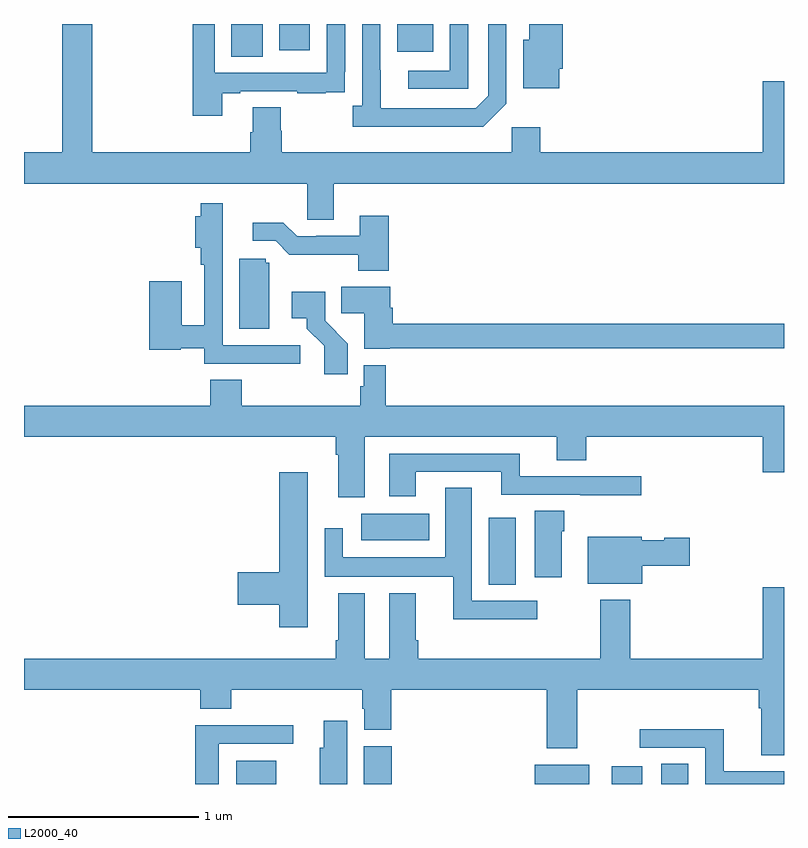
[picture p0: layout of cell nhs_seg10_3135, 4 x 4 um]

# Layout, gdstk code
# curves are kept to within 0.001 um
import gdstk
lib = gdstk.Library(unit=1e-6, precision=1e-09)
def R(c, l, rs):  # rectangles x0, y0, x1, y1
    for r in rs: c.add(gdstk.rectangle(r[:2], r[2:], *l))
def P(c, l, *ps):  # polygons
    for p in ps: c.add(gdstk.Polygon(p, *l))
L2000_40 = (2000, 40)

nhs_seg10_3135 = lib.new_cell('nhs_seg10_3135')
R(nhs_seg10_3135, L2000_40, [(282.116,1286.5,282.328,1286.623), (282.788,1286.5,282.935,1286.7), (283.688,1286.5,283.975,1286.602), (284.093,1286.5,284.254,1286.593), (284.354,1286.5,284.497,1286.606), (283.445,1287.55,283.588,1287.901), (282.774,1287.782,283.132,1287.922), (282.092,1290.328,282.256,1290.5), (282.965,1290.353,283.153,1290.5), (282.344,1290.363,282.505,1290.5)])
P(nhs_seg10_3135, L2000_40, [(283.816,1290.265),(283.835,1290.265),(283.835,1290.5),(283.658,1290.5),(283.658,1290.418),(283.628,1290.418),(283.628,1290.161),(283.816,1290.161)],
  [(282.043,1290.135),(282.139,1290.135),(282.139,1290.147),(282.439,1290.147),(282.439,1290.135),(282.587,1290.135),(282.587,1290.141),(282.689,1290.141),(282.689,1290.25),(282.69,1290.25),(282.69,1290.5),(282.594,1290.5),(282.594,1290.243),(282.003,1290.243),(282.003,1290.5),(281.887,1290.5),(281.887,1290.018),(282.043,1290.018)],
  [(282.631,1289.66),(285,1289.66),(285,1290.199),(284.888,1290.199),(284.888,1289.824),(283.718,1289.824),(283.718,1289.956),(283.566,1289.956),(283.566,1289.824),(282.356,1289.824),(282.356,1289.937),(282.351,1289.937),(282.351,1290.062),(282.203,1290.062),(282.203,1289.93),(282.191,1289.93),(282.191,1289.824),(281.36,1289.824),(281.36,1290.5),(281.2,1290.5),(281.2,1289.824),(281,1289.824),(281,1289.66),(282.492,1289.66),(282.492,1289.47),(282.631,1289.47)],
  [(283.539,1290.081),(283.539,1290.5),(283.443,1290.5),(283.443,1290.123),(283.377,1290.057),(282.877,1290.057),(282.876,1290.5),(282.78,1290.5),(282.78,1290.07),(282.729,1290.07),(282.729,1289.96),(283.418,1289.96)],
  [(283.338,1290.5),(283.242,1290.5),(283.242,1290.255),(283.023,1290.255),(283.023,1290.159),(283.338,1290.159)],
  [(282.454,1288.809),(282.045,1288.809),(282.045,1289.334),(282.046,1289.334),(282.046,1289.557),(281.929,1289.557),(281.929,1289.488),(281.9,1289.488),(281.9,1289.323),(281.929,1289.323),(281.929,1289.234),(281.949,1289.234),(281.949,1288.915),(281.83,1288.915),(281.83,1289.146),(281.66,1289.146),(281.66,1288.786),(281.826,1288.786),(281.826,1288.794),(281.949,1288.794),(281.949,1288.713),(282.229,1288.713),(282.229,1288.711),(282.454,1288.711)],
  [(282.92,1289.491),(282.767,1289.491),(282.767,1289.385),(282.538,1289.385),(282.538,1289.382),(282.438,1289.382),(282.365,1289.455),(282.204,1289.455),(282.204,1289.358),(282.324,1289.358),(282.397,1289.285),(282.76,1289.286),(282.76,1289.201),(282.92,1289.201)],
  [(282.292,1289.244),(282.273,1289.244),(282.273,1289.265),(282.134,1289.265),(282.134,1288.896),(282.292,1288.896)],
  [(282.924,1288.794),(285,1288.794),(285,1288.922),(282.941,1288.922),(282.941,1289.006),(282.928,1289.006),(282.928,1289.116),(282.67,1289.116),(282.67,1288.978),(282.791,1288.978),(282.791,1288.79),(282.924,1288.79)],
  [(282.704,1288.818),(282.585,1288.937),(282.585,1289.092),(282.408,1289.092),(282.408,1288.952),(282.488,1288.952),(282.488,1288.897),(282.579,1288.807),(282.579,1288.656),(282.704,1288.656)],
  [(282.793,1288.328),(283.805,1288.328),(283.805,1288.204),(283.958,1288.204),(283.958,1288.328),(284.888,1288.328),(284.888,1288.14),(285,1288.14),(285,1288.492),(282.905,1288.492),(282.905,1288.705),(282.789,1288.705),(282.789,1288.593),(282.769,1288.593),(282.769,1288.492),(282.146,1288.492),(282.146,1288.628),(281.981,1288.628),(281.981,1288.492),(281,1288.492),(281,1288.328),(282.641,1288.328),(282.641,1288.232),(282.653,1288.232),(282.653,1288.008),(282.793,1288.008)],
  [(283.063,1288.143),(283.511,1288.143),(283.511,1288.023),(283.927,1288.023),(283.927,1288.021),(284.248,1288.021),(284.248,1288.119),(283.61,1288.119),(283.61,1288.239),(282.923,1288.239),(282.923,1288.014),(283.063,1288.014)],
  [(282.493,1288.141),(282.344,1288.141),(282.344,1287.614),(282.126,1287.614),(282.126,1287.443),(282.344,1287.443),(282.344,1287.324),(282.493,1287.324)],
  [(283.702,1287.465),(283.357,1287.465),(283.357,1288.058),(283.217,1288.058),(283.217,1287.694),(282.678,1287.694),(282.678,1287.847),(282.582,1287.847),(282.582,1287.59),(283.259,1287.59),(283.259,1287.368),(283.702,1287.368)],
  [(283.831,1287.83),(283.844,1287.83),(283.844,1287.938),(283.688,1287.938),(283.688,1287.588),(283.831,1287.588)],
  [(284.254,1287.65),(284.503,1287.65),(284.503,1287.797),(284.37,1287.797),(284.37,1287.784),(284.25,1287.784),(284.25,1287.802),(283.967,1287.802),(283.967,1287.554),(284.254,1287.554)],
  [(285,1287.535),(284.888,1287.535),(284.888,1287.16),(284.192,1287.16),(284.192,1287.469),(284.032,1287.469),(284.032,1287.16),(283.076,1287.16),(283.076,1287.256),(283.063,1287.256),(283.063,1287.505),(282.923,1287.505),(282.923,1287.16),(282.793,1287.16),(282.793,1287.505),(282.653,1287.505),(282.653,1287.256),(282.641,1287.256),(282.641,1287.16),(281,1287.16),(281,1286.996),(281.927,1286.996),(281.927,1286.897),(282.092,1286.897),(282.092,1286.996),(282.779,1286.996),(282.779,1286.895),(282.791,1286.895),(282.791,1286.785),(282.932,1286.785),(282.932,1286.996),(283.751,1286.996),(283.751,1286.687),(283.911,1286.687),(283.911,1286.996),(284.867,1286.996),(284.867,1286.9),(284.879,1286.9),(284.879,1286.651),(285,1286.651)],
  [(282.7,1286.833),(282.578,1286.833),(282.578,1286.691),(282.557,1286.691),(282.557,1286.5),(282.7,1286.5)],
  [(282.025,1286.712),(282.418,1286.712),(282.418,1286.81),(281.9,1286.81),(281.9,1286.5),(282.025,1286.5)],
  [(285,1286.566),(284.684,1286.566),(284.684,1286.789),(284.241,1286.789),(284.241,1286.691),(284.585,1286.691),(284.585,1286.5),(285,1286.5)])

lib.write_gds('nhs_seg10_3135.gds')
